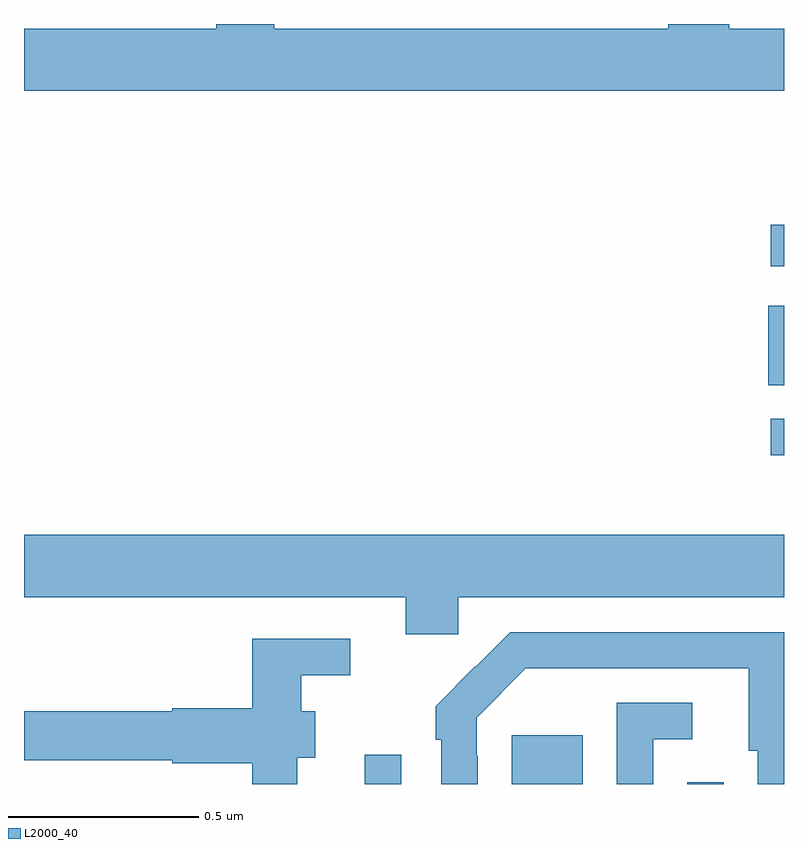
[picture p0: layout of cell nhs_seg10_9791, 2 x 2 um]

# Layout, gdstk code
import gdstk
lib = gdstk.Library(unit=1e-6, precision=1e-09)
def R(c, l, rs):  # rectangles x0, y0, x1, y1
    for r in rs: c.add(gdstk.rectangle(r[:2], r[2:], *l))
def P(c, l, *ps):  # polygons
    for p in ps: c.add(gdstk.Polygon(p, *l))
L2000_40 = (2000, 40)

nhs_seg10_9791 = lib.new_cell('nhs_seg10_9791')
R(nhs_seg10_9791, L2000_40, [(234.897,1290.5,234.993,1290.577), (235.283,1290.5,235.471,1290.628), (235.746,1290.5,235.842,1290.505), (235.965,1291.365,236,1291.461), (235.958,1291.55,236,1291.759), (235.965,1291.863,236,1291.972)])
P(nhs_seg10_9791, L2000_40, [(236,1292.488),(235.856,1292.488),(235.856,1292.5),(235.696,1292.5),(235.696,1292.488),(234.658,1292.488),(234.658,1292.5),(234.506,1292.5),(234.506,1292.488),(234,1292.488),(234,1292.324),(236,1292.324)],
  [(235.143,1290.992),(236,1290.992),(236,1291.156),(234,1291.156),(234,1290.992),(235.004,1290.992),(235.004,1290.894),(235.143,1290.894)],
  [(235.194,1290.575),(235.191,1290.575),(235.191,1290.675),(235.32,1290.804),(235.907,1290.804),(235.907,1290.588),(235.931,1290.588),(235.931,1290.5),(236,1290.5),(236,1290.9),(235.28,1290.9),(235.189,1290.809),(235.188,1290.81),(235.083,1290.705),(235.083,1290.617),(235.098,1290.617),(235.098,1290.5),(235.194,1290.5)],
  [(234.719,1290.569),(234.766,1290.569),(234.766,1290.691),(234.73,1290.691),(234.73,1290.786),(234.859,1290.786),(234.859,1290.882),(234.601,1290.882),(234.601,1290.699),(234.39,1290.699),(234.39,1290.691),(234,1290.691),(234,1290.562),(234.39,1290.562),(234.39,1290.554),(234.601,1290.554),(234.601,1290.5),(234.719,1290.5)],
  [(235.656,1290.618),(235.759,1290.618),(235.759,1290.714),(235.56,1290.714),(235.56,1290.5),(235.656,1290.5)])

lib.write_gds('nhs_seg10_9791.gds')
